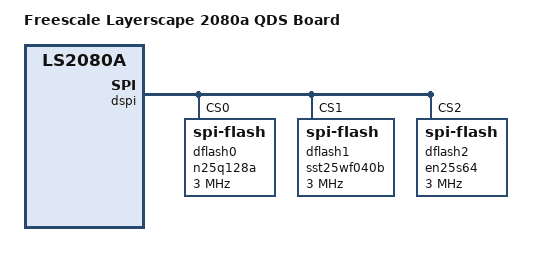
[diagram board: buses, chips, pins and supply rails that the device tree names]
/*
 * Freescale ls2080a QDS board device tree source
 *
 * Copyright 2013-2015 Freescale Semiconductor, Inc.
 *
 * SPDX-License-Identifier:	GPL-2.0+
 */

/dts-v1/;

#include "fsl-ls2080a.dtsi"

/ {
	model = "Freescale Layerscape 2080a QDS Board";
	compatible = "fsl,ls2080a-qds", "fsl,ls2080a";

	aliases {
		spi1 = &dspi;
	};
};

&dspi {
	bus-num = <0>;
	status = "okay";

	dflash0: n25q128a {
		#address-cells = <1>;
		#size-cells = <1>;
		compatible = "spi-flash";
		spi-max-frequency = <3000000>;
		spi-cpol;
		spi-cpha;
		reg = <0>;
	};
	dflash1: sst25wf040b {
		#address-cells = <1>;
		#size-cells = <1>;
		compatible = "spi-flash";
		spi-max-frequency = <3000000>;
		spi-cpol;
		spi-cpha;
		reg = <1>;
	};
	dflash2: en25s64 {
		#address-cells = <1>;
		#size-cells = <1>;
		compatible = "spi-flash";
		spi-max-frequency = <3000000>;
		spi-cpol;
		spi-cpha;
		reg = <2>;
	};
};
